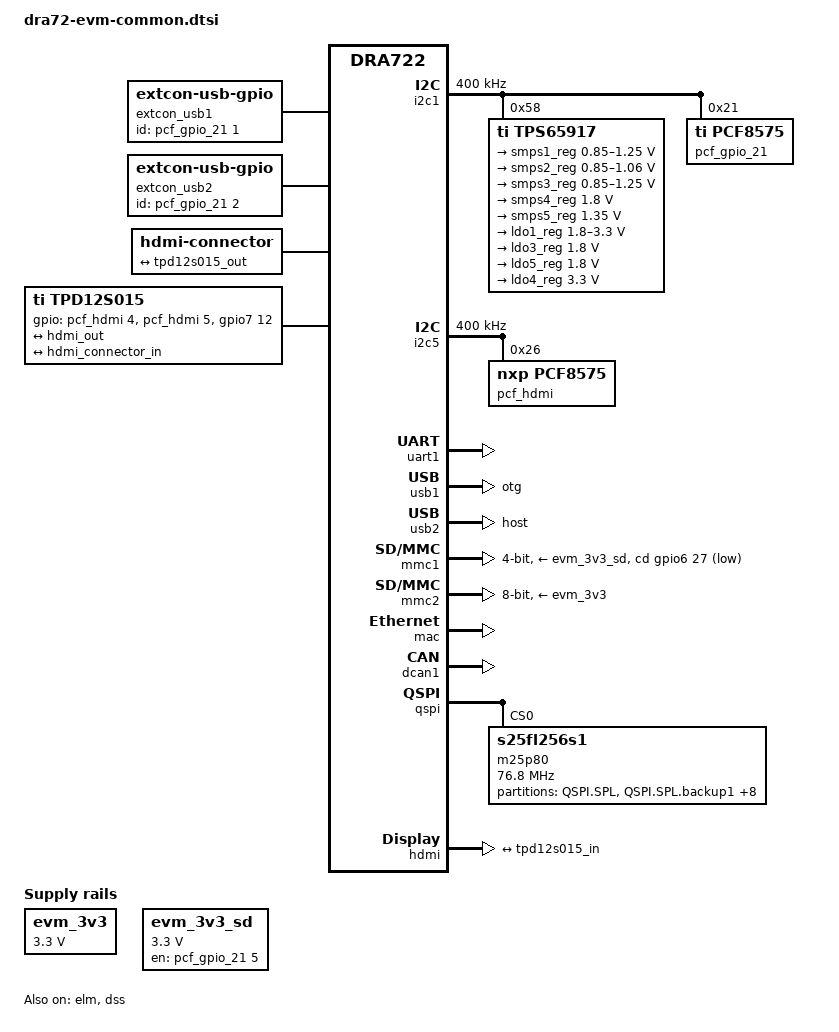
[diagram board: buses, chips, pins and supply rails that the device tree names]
/*
 * Copyright (C) 2014 Texas Instruments Incorporated - http://www.ti.com/
 *
 * This program is free software; you can redistribute it and/or modify
 * it under the terms of the GNU General Public License version 2 as
 * published by the Free Software Foundation.
 */
/dts-v1/;

#include "dra72x.dtsi"
#include <dt-bindings/gpio/gpio.h>

/ {
	compatible = "ti,dra72-evm", "ti,dra722", "ti,dra72", "ti,dra7";

	chosen {
		stdout-path = &uart1;
		tick-timer = &timer2;
	};

	aliases {
		display0 = &hdmi0;
	};

	evm_3v3: fixedregulator-evm_3v3 {
		compatible = "regulator-fixed";
		regulator-name = "evm_3v3";
		regulator-min-microvolt = <3300000>;
		regulator-max-microvolt = <3300000>;
	};

	evm_3v3_sd: fixedregulator-sd {
		compatible = "regulator-fixed";
		regulator-name = "evm_3v3_sd";
		regulator-min-microvolt = <3300000>;
		regulator-max-microvolt = <3300000>;
		enable-active-high;
		gpio = <&pcf_gpio_21 5 GPIO_ACTIVE_HIGH>;
	};

	extcon_usb1: extcon_usb1 {
		compatible = "linux,extcon-usb-gpio";
		id-gpio = <&pcf_gpio_21 1 GPIO_ACTIVE_HIGH>;
	};

	extcon_usb2: extcon_usb2 {
		compatible = "linux,extcon-usb-gpio";
		id-gpio = <&pcf_gpio_21 2 GPIO_ACTIVE_HIGH>;
	};

	hdmi0: connector {
		compatible = "hdmi-connector";
		label = "hdmi";

		type = "a";

		port {
			hdmi_connector_in: endpoint {
				remote-endpoint = <&tpd12s015_out>;
			};
		};
	};

	tpd12s015: encoder {
		compatible = "ti,tpd12s015";

		gpios = <&pcf_hdmi 4 GPIO_ACTIVE_HIGH>,	/* P4, CT CP HPD */
			<&pcf_hdmi 5 GPIO_ACTIVE_HIGH>,	/* P5, LS OE */
			<&gpio7 12 GPIO_ACTIVE_HIGH>;	/* gpio7_12/sp1_cs2, HPD */

		ports {
			#address-cells = <1>;
			#size-cells = <0>;

			port@0 {
				reg = <0>;

				tpd12s015_in: endpoint {
					remote-endpoint = <&hdmi_out>;
				};
			};

			port@1 {
				reg = <1>;

				tpd12s015_out: endpoint {
					remote-endpoint = <&hdmi_connector_in>;
				};
			};
		};
	};
};

&dra7_pmx_core {
	mmc1_pins_default: mmc1_pins_default {
		pinctrl-single,pins = <
			0x354 (PIN_INPUT_PULLUP | MUX_MODE0) /* mmc1_clk.clk */
			0x358 (PIN_INPUT_PULLUP | MUX_MODE0) /* mmc1_cmd.cmd */
			0x35c (PIN_INPUT_PULLUP | MUX_MODE0) /* mmc1_dat0.dat0 */
			0x360 (PIN_INPUT_PULLUP | MUX_MODE0) /* mmc1_dat1.dat1 */
			0x364 (PIN_INPUT_PULLUP | MUX_MODE0) /* mmc1_dat2.dat2 */
			0x368 (PIN_INPUT_PULLUP | MUX_MODE0) /* mmc1_dat3.dat3 */
		>;
	};

	mmc1_pins_sdr12: pinmux_mmc1_sdr12_pins {
		pinctrl-single,pins = <
			0x354 (PIN_INPUT_PULLUP | MUX_MODE0) /* mmc1_clk.clk */
			0x358 (PIN_INPUT_PULLUP | MUX_MODE0) /* mmc1_cmd.cmd */
			0x35c (PIN_INPUT_PULLUP | MUX_MODE0) /* mmc1_dat0.dat0 */
			0x360 (PIN_INPUT_PULLUP | MUX_MODE0) /* mmc1_dat1.dat1 */
			0x364 (PIN_INPUT_PULLUP | MUX_MODE0) /* mmc1_dat2.dat2 */
			0x368 (PIN_INPUT_PULLUP | MUX_MODE0) /* mmc1_dat3.dat3 */
		>;
	};

	mmc1_pins_hs: pinmux_mmc1_hs_pins {
		pinctrl-single,pins = <
			0x354 (PIN_INPUT_PULLUP | MUX_MODE0) /* mmc1_clk.clk */
			0x358 (PIN_INPUT_PULLUP | MUX_MODE0) /* mmc1_cmd.cmd */
			0x35c (PIN_INPUT_PULLUP | MUX_MODE0) /* mmc1_dat0.dat0 */
			0x360 (PIN_INPUT_PULLUP | MUX_MODE0) /* mmc1_dat1.dat1 */
			0x364 (PIN_INPUT_PULLUP | MUX_MODE0) /* mmc1_dat2.dat2 */
			0x368 (PIN_INPUT_PULLUP | MUX_MODE0) /* mmc1_dat3.dat3 */
		>;
	};

	mmc1_pins_sdr25: pinmux_mmc1_sdr25_pins {
		pinctrl-single,pins = <
			0x354 (PIN_INPUT_PULLUP | MUX_MODE0) /* mmc1_clk.clk */
			0x358 (PIN_INPUT_PULLUP | MUX_MODE0) /* mmc1_cmd.cmd */
			0x35c (PIN_INPUT_PULLUP | MUX_MODE0) /* mmc1_dat0.dat0 */
			0x360 (PIN_INPUT_PULLUP | MUX_MODE0) /* mmc1_dat1.dat1 */
			0x364 (PIN_INPUT_PULLUP | MUX_MODE0) /* mmc1_dat2.dat2 */
			0x368 (PIN_INPUT_PULLUP | MUX_MODE0) /* mmc1_dat3.dat3 */
		>;
	};

	mmc1_pins_sdr50: pinmux_mmc1_sdr50_pins {
		pinctrl-single,pins = <
			0x354 (PIN_INPUT_PULLUP | MUX_VIRTUAL_MODE15 | MUX_MODE0)	/* mmc1_clk.mmc1_clk */
			0x358 (PIN_INPUT_PULLUP | MUX_VIRTUAL_MODE15 | MUX_MODE0)	/* mmc1_cmd.mmc1_cmd */
			0x35C (PIN_INPUT_PULLUP | MUX_VIRTUAL_MODE15 | MUX_MODE0)	/* mmc1_dat0.mmc1_dat0 */
			0x360 (PIN_INPUT_PULLUP | MUX_VIRTUAL_MODE15 | MUX_MODE0)	/* mmc1_dat1.mmc1_dat1 */
			0x364 (PIN_INPUT_PULLUP | MUX_VIRTUAL_MODE15 | MUX_MODE0)	/* mmc1_dat2.mmc1_dat2 */
			0x368 (PIN_INPUT_PULLUP | MUX_VIRTUAL_MODE15 | MUX_MODE0)	/* mmc1_dat3.mmc1_dat3 */
		>;
	};

	mmc1_pins_ddr50: pinmux_mmc1_ddr50_pins {
		pinctrl-single,pins = <
			0x354	(PIN_INPUT_PULLUP | MUX_VIRTUAL_MODE14 | MUX_MODE0)	/* mmc1_clk.mmc1_clk */
			0x358	(PIN_INPUT_PULLUP | MUX_VIRTUAL_MODE14 | MUX_MODE0)	/* mmc1_cmd.mmc1_cmd */
			0x35C	(PIN_INPUT_PULLUP | MUX_VIRTUAL_MODE14 | MUX_MODE0)	/* mmc1_dat0.mmc1_dat0 */
			0x360	(PIN_INPUT_PULLUP | MUX_VIRTUAL_MODE14 | MUX_MODE0)	/* mmc1_dat1.mmc1_dat1 */
			0x364	(PIN_INPUT_PULLUP | MUX_VIRTUAL_MODE14 | MUX_MODE0)	/* mmc1_dat2.mmc1_dat2 */
			0x368	(PIN_INPUT_PULLUP | MUX_VIRTUAL_MODE14 | MUX_MODE0)	/* mmc1_dat3.mmc1_dat3 */
		>;
	};

	mmc1_pins_sdr104: pinmux_mmc1_sdr104_pins {
		pinctrl-single,pins = <
			0x354	(PIN_INPUT_PULLUP | MANUAL_MODE | MUX_MODE0)	/* mmc1_clk.mmc1_clk */
			0x358	(PIN_INPUT_PULLUP | MANUAL_MODE | MUX_MODE0)	/* mmc1_cmd.mmc1_cmd */
			0x35C	(PIN_INPUT_PULLUP | MANUAL_MODE | MUX_MODE0)	/* mmc1_dat0.mmc1_dat0 */
			0x360	(PIN_INPUT_PULLUP | MANUAL_MODE | MUX_MODE0)	/* mmc1_dat1.mmc1_dat1 */
			0x364	(PIN_INPUT_PULLUP | MANUAL_MODE | MUX_MODE0)	/* mmc1_dat2.mmc1_dat2 */
			0x368	(PIN_INPUT_PULLUP | MANUAL_MODE | MUX_MODE0)	/* mmc1_dat3.mmc1_dat3 */
		>;
	};

	mmc2_pins_default: mmc2_pins_default {
		pinctrl-single,pins = <
			0x9c (PIN_INPUT_PULLUP | MUX_MODE1) /* gpmc_a23.mmc2_clk */
			0xb0 (PIN_INPUT_PULLUP | MUX_MODE1) /* gpmc_cs1.mmc2_cmd */
			0xa0 (PIN_INPUT_PULLUP | MUX_MODE1) /* gpmc_a24.mmc2_dat0 */
			0xa4 (PIN_INPUT_PULLUP | MUX_MODE1) /* gpmc_a25.mmc2_dat1 */
			0xa8 (PIN_INPUT_PULLUP | MUX_MODE1) /* gpmc_a26.mmc2_dat2 */
			0xac (PIN_INPUT_PULLUP | MUX_MODE1) /* gpmc_a27.mmc2_dat3 */
			0x8c (PIN_INPUT_PULLUP | MUX_MODE1) /* gpmc_a19.mmc2_dat4 */
			0x90 (PIN_INPUT_PULLUP | MUX_MODE1) /* gpmc_a20.mmc2_dat5 */
			0x94 (PIN_INPUT_PULLUP | MUX_MODE1) /* gpmc_a21.mmc2_dat6 */
			0x98 (PIN_INPUT_PULLUP | MUX_MODE1) /* gpmc_a22.mmc2_dat7 */
		>;
	};

	mmc2_pins_hs: pinmux_mmc2_hs_pins {
		pinctrl-single,pins = <
			0x08C	(PIN_INPUT_PULLUP | MUX_MODE1)	/* gpmc_a19.mmc2_dat4 */
			0x090	(PIN_INPUT_PULLUP | MUX_MODE1)	/* gpmc_a20.mmc2_dat5 */
			0x094	(PIN_INPUT_PULLUP | MUX_MODE1)	/* gpmc_a21.mmc2_dat6 */
			0x098	(PIN_INPUT_PULLUP | MUX_MODE1)	/* gpmc_a22.mmc2_dat7 */
			0x09C	(PIN_INPUT_PULLUP | MUX_MODE1)	/* gpmc_a23.mmc2_clk */
			0x0A0	(PIN_INPUT_PULLUP | MUX_MODE1)	/* gpmc_a24.mmc2_dat0 */
			0x0A4	(PIN_INPUT_PULLUP | MUX_MODE1)	/* gpmc_a25.mmc2_dat1 */
			0x0A8	(PIN_INPUT_PULLUP | MUX_MODE1)	/* gpmc_a26.mmc2_dat2 */
			0x0AC	(PIN_INPUT_PULLUP | MUX_MODE1)	/* gpmc_a27.mmc2_dat3 */
			0x0B0	(PIN_INPUT_PULLUP | MUX_MODE1)	/* gpmc_cs1.mmc2_cmd */
		>;
	};

	mmc2_pins_ddr_1_8v: pinmux_mmc2_ddr_1_8v_pins {
		pinctrl-single,pins = <
			0x08C	(PIN_INPUT_PULLUP | MUX_MODE1)	/* gpmc_a19.mmc2_dat4 */
			0x090	(PIN_INPUT_PULLUP | MUX_MODE1)	/* gpmc_a20.mmc2_dat5 */
			0x094	(PIN_INPUT_PULLUP | MUX_MODE1)	/* gpmc_a21.mmc2_dat6 */
			0x098	(PIN_INPUT_PULLUP | MUX_MODE1)	/* gpmc_a22.mmc2_dat7 */
			0x09C	(PIN_INPUT_PULLUP | MUX_MODE1)	/* gpmc_a23.mmc2_clk */
			0x0A0	(PIN_INPUT_PULLUP | MUX_MODE1)	/* gpmc_a24.mmc2_dat0 */
			0x0A4	(PIN_INPUT_PULLUP | MUX_MODE1)	/* gpmc_a25.mmc2_dat1 */
			0x0A8	(PIN_INPUT_PULLUP | MUX_MODE1)	/* gpmc_a26.mmc2_dat2 */
			0x0AC	(PIN_INPUT_PULLUP | MUX_MODE1)	/* gpmc_a27.mmc2_dat3 */
			0x0B0	(PIN_INPUT_PULLUP | MUX_MODE1)	/* gpmc_cs1.mmc2_cmd */
		>;
	};

	mmc2_pins_hs200_1_8v: pinmux_mmc2_hs200_1_8v_pins {
		pinctrl-single,pins = <
			0x08C	(PIN_INPUT_PULLUP | MANUAL_MODE | MUX_MODE1)	/* gpmc_a19.mmc2_dat4 */
			0x090	(PIN_INPUT_PULLUP | MANUAL_MODE | MUX_MODE1)	/* gpmc_a20.mmc2_dat5 */
			0x094	(PIN_INPUT_PULLUP | MANUAL_MODE | MUX_MODE1)	/* gpmc_a21.mmc2_dat6 */
			0x098	(PIN_INPUT_PULLUP | MANUAL_MODE | MUX_MODE1)	/* gpmc_a22.mmc2_dat7 */
			0x09C	(PIN_INPUT_PULLUP | MANUAL_MODE | MUX_MODE1)	/* gpmc_a23.mmc2_clk */
			0x0A0	(PIN_INPUT_PULLUP | MANUAL_MODE | MUX_MODE1)	/* gpmc_a24.mmc2_dat0 */
			0x0A4	(PIN_INPUT_PULLUP | MANUAL_MODE | MUX_MODE1)	/* gpmc_a25.mmc2_dat1 */
			0x0A8	(PIN_INPUT_PULLUP | MANUAL_MODE | MUX_MODE1)	/* gpmc_a26.mmc2_dat2 */
			0x0AC	(PIN_INPUT_PULLUP | MANUAL_MODE | MUX_MODE1)	/* gpmc_a27.mmc2_dat3 */
			0x0B0	(PIN_INPUT_PULLUP | MANUAL_MODE | MUX_MODE1)	/* gpmc_cs1.mmc2_cmd */
		>;
	};

	dcan1_pins_default: dcan1_pins_default {
		pinctrl-single,pins = <
			0x3d0   (PIN_OUTPUT_PULLUP | MUX_MODE0) /* dcan1_tx */
			0x418   (PULL_UP | MUX_MODE1)	/* wakeup0.dcan1_rx */
		>;
	};

	dcan1_pins_sleep: dcan1_pins_sleep {
		pinctrl-single,pins = <
			0x3d0   (MUX_MODE15 | PULL_UP)	/* dcan1_tx.off */
			0x418   (MUX_MODE15 | PULL_UP)	/* wakeup0.off */
		>;
	};
};

&dra7_iodelay_core {
	mmc1_iodelay_sdr104_conf: mmc1_iodelay_sdr104_conf {
		pinctrl-single,pins = <
			0x620 (A_DELAY(560) | G_DELAY(365))	/* CFG_MMC1_CLK_OUT */
			0x62C (A_DELAY(0)   | G_DELAY(0))	/* CFG_MMC1_CMD_OUT */
			0x638 (A_DELAY(29)  | G_DELAY(0))	/* CFG_MMC1_DAT0_OUT */
			0x644 (A_DELAY(0)   | G_DELAY(0))	/* CFG_MMC1_DAT1_OUT */
			0x650 (A_DELAY(47)  | G_DELAY(0))	/* CFG_MMC1_DAT2_OUT */
			0x65C (A_DELAY(30)  | G_DELAY(0))	/* CFG_MMC1_DAT3_OUT */
			0x628 (A_DELAY(125) | G_DELAY(0))	/* CFG_MMC1_CMD_OEN */
			0x634 (A_DELAY(43)  | G_DELAY(0))	/* CFG_MMC1_DAT0_OEN */
			0x640 (A_DELAY(433) | G_DELAY(0))	/* CFG_MMC1_DAT1_OEN */
			0x64C (A_DELAY(287) | G_DELAY(0))	/* CFG_MMC1_DAT2_OEN */
			0x658 (A_DELAY(351) | G_DELAY(0))	/* CFG_MMC1_DAT3_OEN */
		>;
	};

	mmc2_iodelay_hs200_1_8v_conf: mmc2_iodelay_hs200_1_8v_conf {
		pinctrl-single,pins = <
			0x194 (A_DELAY(150) | G_DELAY(95))	/* CFG_GPMC_A19_OUT */
			0x1AC (A_DELAY(250) | G_DELAY(0))	/* CFG_GPMC_A20_OUT */
			0x1B8 (A_DELAY(125) | G_DELAY(0))	/* CFG_GPMC_A21_OUT */
			0x1C4 (A_DELAY(100) | G_DELAY(0))	/* CFG_GPMC_A22_OUT */
			0x1D0 (A_DELAY(870) | G_DELAY(415))	/* CFG_GPMC_A23_OUT */
			0x1DC (A_DELAY(30)  | G_DELAY(0))	/* CFG_GPMC_A24_OUT */
			0x1E8 (A_DELAY(200) | G_DELAY(0))	/* CFG_GPMC_A25_OUT */
			0x1F4 (A_DELAY(200) | G_DELAY(0))	/* CFG_GPMC_A26_OUT */
			0x200 (A_DELAY(0)   | G_DELAY(0))	/* CFG_GPMC_A27_OUT */
			0x368 (A_DELAY(240) | G_DELAY(0))	/* CFG_GPMC_CS1_OUT */
			0x190 (A_DELAY(695) | G_DELAY(0))	/* CFG_GPMC_A19_OEN */
			0x1A8 (A_DELAY(924) | G_DELAY(0))	/* CFG_GPMC_A20_OEN */
			0x1B4 (A_DELAY(719) | G_DELAY(0))	/* CFG_GPMC_A21_OEN */
			0x1C0 (A_DELAY(824) | G_DELAY(0))	/* CFG_GPMC_A22_OEN */
			0x1D8 (A_DELAY(877) | G_DELAY(0))	/* CFG_GPMC_A24_OEN */
			0x1E4 (A_DELAY(446) | G_DELAY(0))	/* CFG_GPMC_A25_OEN */
			0x1F0 (A_DELAY(847) | G_DELAY(0))	/* CFG_GPMC_A26_OEN */
			0x1FC (A_DELAY(586) | G_DELAY(0))	/* CFG_GPMC_A27_OEN */
			0x364 (A_DELAY(1039) | G_DELAY(0))	/* CFG_GPMC_CS1_OEN */
		>;
	};
};

&i2c1 {
	status = "okay";
	clock-frequency = <400000>;

	tps65917: tps65917@58 {
		compatible = "ti,tps65917";
		reg = <0x58>;

		interrupts = <GIC_SPI 2 IRQ_TYPE_NONE>;  /* IRQ_SYS_1N */
		interrupt-controller;
		#interrupt-cells = <2>;

		ti,system-power-controller;

		tps65917_pmic {
			compatible = "ti,tps65917-pmic";

			tps65917_regulators: regulators {
				smps1_reg: smps1 {
					/* VDD_MPU */
					regulator-name = "smps1";
					regulator-min-microvolt = <850000>;
					regulator-max-microvolt = <1250000>;
					regulator-always-on;
					regulator-boot-on;
				};

				smps2_reg: smps2 {
					/* VDD_CORE */
					regulator-name = "smps2";
					regulator-min-microvolt = <850000>;
					regulator-max-microvolt = <1060000>;
					regulator-boot-on;
					regulator-always-on;
				};

				smps3_reg: smps3 {
					/* VDD_GPU IVA DSPEVE */
					regulator-name = "smps3";
					regulator-min-microvolt = <850000>;
					regulator-max-microvolt = <1250000>;
					regulator-boot-on;
					regulator-always-on;
				};

				smps4_reg: smps4 {
					/* VDDS1V8 */
					regulator-name = "smps4";
					regulator-min-microvolt = <1800000>;
					regulator-max-microvolt = <1800000>;
					regulator-always-on;
					regulator-boot-on;
				};

				smps5_reg: smps5 {
					/* VDD_DDR */
					regulator-name = "smps5";
					regulator-min-microvolt = <1350000>;
					regulator-max-microvolt = <1350000>;
					regulator-boot-on;
					regulator-always-on;
				};

				ldo1_reg: ldo1 {
					/* LDO1_OUT --> SDIO  */
					regulator-name = "ldo1";
					regulator-min-microvolt = <1800000>;
					regulator-max-microvolt = <3300000>;
					regulator-always-on;
					regulator-boot-on;
					regulator-allow-bypass;
				};

				ldo3_reg: ldo3 {
					/* VDDA_1V8_PHY */
					regulator-name = "ldo3";
					regulator-min-microvolt = <1800000>;
					regulator-max-microvolt = <1800000>;
					regulator-boot-on;
					regulator-always-on;
				};

				ldo5_reg: ldo5 {
					/* VDDA_1V8_PLL */
					regulator-name = "ldo5";
					regulator-min-microvolt = <1800000>;
					regulator-max-microvolt = <1800000>;
					regulator-always-on;
					regulator-boot-on;
				};

				ldo4_reg: ldo4 {
					/* VDDA_3V_USB: VDDA_USBHS33 */
					regulator-name = "ldo4";
					regulator-min-microvolt = <3300000>;
					regulator-max-microvolt = <3300000>;
					regulator-boot-on;
				};
			};
		};

		tps65917_power_button {
			compatible = "ti,palmas-pwrbutton";
			interrupt-parent = <&tps65917>;
			interrupts = <1 IRQ_TYPE_NONE>;
			wakeup-source;
			ti,palmas-long-press-seconds = <6>;
		};
	};

	pcf_gpio_21: gpio@21 {
		compatible = "ti,pcf8575";
		reg = <0x21>;
		lines-initial-states = <0x1408>;
		gpio-controller;
		#gpio-cells = <2>;

		interrupt-controller;
		#interrupt-cells = <2>;
	};
};

&i2c5 {
	status = "okay";
	clock-frequency = <400000>;

	pcf_hdmi: pcf8575@26 {
		compatible = "nxp,pcf8575";
		reg = <0x26>;
		gpio-controller;
		#gpio-cells = <2>;
		/*
		 * initial state is used here to keep the mdio interface
		 * selected on RU89 through SEL_VIN4_MUX_S0, VIN2_S1 and
		 * VIN2_S0 driven high otherwise Ethernet stops working
		 * VIN6_SEL_S0 is low, thus selecting McASP3 over VIN6
		 */
		lines-initial-states = <0x0f2b>;

		p1 {
			/* vin6_sel_s0: high: VIN6, low: audio */
			gpio-hog;
			gpios = <1 GPIO_ACTIVE_HIGH>;
			output-low;
			line-name = "vin6_sel_s0";
		};
	};
};

&uart1 {
	status = "okay";
	interrupts-extended = <&crossbar_mpu GIC_SPI 67 IRQ_TYPE_LEVEL_HIGH>,
			      <&dra7_pmx_core 0x3e0>;
};

&elm {
	status = "okay";
};

&gpmc {
	/*
	 * For the existing IOdelay configuration via U-Boot we don't
	 * support NAND on dra72-evm. Keep it disabled. Enabling it
	 * requires a different configuration by U-Boot.
	 */
	status = "disabled";
	ranges = <0 0 0x08000000 0x01000000>;	/* minimum GPMC partition = 16MB */
	nand@0,0 {
		/* To use NAND, DIP switch SW5 must be set like so:
		 * SW5.1 (NAND_SELn) = ON (LOW)
		 * SW5.9 (GPMC_WPN) = OFF (HIGH)
		 */
		compatible = "ti,omap2-nand";
		reg = <0 0 4>;          /* device IO registers */
		interrupt-parent = <&gpmc>;
		interrupts = <0 IRQ_TYPE_NONE>, /* fifoevent */
			     <1 IRQ_TYPE_NONE>; /* termcount */
		rb-gpios = <&gpmc 0 GPIO_ACTIVE_HIGH>; /* gpmc_wait0 pin */	/* device IO registers */
		ti,nand-ecc-opt = "bch8";
		ti,elm-id = <&elm>;
		nand-bus-width = <16>;
		gpmc,device-width = <2>;
		gpmc,sync-clk-ps = <0>;
		gpmc,cs-on-ns = <0>;
		gpmc,cs-rd-off-ns = <80>;
		gpmc,cs-wr-off-ns = <80>;
		gpmc,adv-on-ns = <0>;
		gpmc,adv-rd-off-ns = <60>;
		gpmc,adv-wr-off-ns = <60>;
		gpmc,we-on-ns = <10>;
		gpmc,we-off-ns = <50>;
		gpmc,oe-on-ns = <4>;
		gpmc,oe-off-ns = <40>;
		gpmc,access-ns = <40>;
		gpmc,wr-access-ns = <80>;
		gpmc,rd-cycle-ns = <80>;
		gpmc,wr-cycle-ns = <80>;
		gpmc,bus-turnaround-ns = <0>;
		gpmc,cycle2cycle-delay-ns = <0>;
		gpmc,clk-activation-ns = <0>;
		gpmc,wait-monitoring-ns = <0>;
		gpmc,wr-data-mux-bus-ns = <0>;
		/* MTD partition table */
		/* All SPL-* partitions are sized to minimal length
		 * which can be independently programmable. For
		 * NAND flash this is equal to size of erase-block */
		#address-cells = <1>;
		#size-cells = <1>;
		partition@0 {
			label = "NAND.SPL";
			reg = <0x00000000 0x000020000>;
		};
		partition@1 {
			label = "NAND.SPL.backup1";
			reg = <0x00020000 0x00020000>;
		};
		partition@2 {
			label = "NAND.SPL.backup2";
			reg = <0x00040000 0x00020000>;
		};
		partition@3 {
			label = "NAND.SPL.backup3";
			reg = <0x00060000 0x00020000>;
		};
		partition@4 {
			label = "NAND.u-boot-spl-os";
			reg = <0x00080000 0x00040000>;
		};
		partition@5 {
			label = "NAND.u-boot";
			reg = <0x000c0000 0x00100000>;
		};
		partition@6 {
			label = "NAND.u-boot-env";
			reg = <0x001c0000 0x00020000>;
		};
		partition@7 {
			label = "NAND.u-boot-env.backup1";
			reg = <0x001e0000 0x00020000>;
		};
		partition@8 {
			label = "NAND.kernel";
			reg = <0x00200000 0x00800000>;
		};
		partition@9 {
			label = "NAND.file-system";
			reg = <0x00a00000 0x0f600000>;
		};
	};
};

&usb2_phy1 {
	phy-supply = <&ldo4_reg>;
};

&usb2_phy2 {
	phy-supply = <&ldo4_reg>;
};

&omap_dwc3_1 {
	extcon = <&extcon_usb1>;
};

&omap_dwc3_2 {
	extcon = <&extcon_usb2>;
};

&usb1 {
	dr_mode = "otg";
};

&usb2 {
	dr_mode = "host";
};

&mmc1 {
	status = "okay";
	pinctrl-names = "default";
	pinctrl-0 = <&mmc1_pins_default>;
	vmmc-supply = <&evm_3v3_sd>;
	vmmc_aux-supply = <&ldo1_reg>;
	bus-width = <4>;
	/*
	 * SDCD signal is not being used here - using the fact that GPIO mode
	 * is a viable alternative
	 */
	cd-gpios = <&gpio6 27 GPIO_ACTIVE_LOW>;
	max-frequency = <192000000>;
	pinctrl-names = "default", "hs", "sdr12", "sdr25", "sdr50", "ddr50", "sdr104";
	pinctrl-0 = <&mmc1_pins_default>;
	pinctrl-1 = <&mmc1_pins_hs>;
	pinctrl-2 = <&mmc1_pins_sdr12>;
	pinctrl-3 = <&mmc1_pins_sdr25>;
	pinctrl-4 = <&mmc1_pins_sdr50>;
	pinctrl-5 = <&mmc1_pins_ddr50>;
	pinctrl-6 = <&mmc1_pins_sdr104 &mmc1_iodelay_sdr104_conf>;
};

&mmc2 {
	/* SW5-3 in ON position */
	status = "okay";
	pinctrl-names = "default", "hs", "ddr_1_8v", "hs200_1_8v";
	pinctrl-0 = <&mmc2_pins_default>;
	pinctrl-1 = <&mmc2_pins_hs>;
	pinctrl-2 = <&mmc2_pins_ddr_1_8v>;
	pinctrl-3 = <&mmc2_pins_hs200_1_8v &mmc2_iodelay_hs200_1_8v_conf>;

	vmmc-supply = <&evm_3v3>;
	bus-width = <8>;
	ti,non-removable;
	max-frequency = <192000000>;
};

&mac {
	status = "okay";
};

&dcan1 {
	status = "ok";
};

&qspi {
	status = "okay";

	spi-max-frequency = <64000000>;
	m25p80@0 {
		compatible = "s25fl256s1", "spi-flash";
		spi-max-frequency = <76800000>;
		reg = <0>;
		spi-tx-bus-width = <1>;
		spi-rx-bus-width = <4>;
		#address-cells = <1>;
		#size-cells = <1>;

		/* MTD partition table.
		 * The ROM checks the first four physical blocks
		 * for a valid file to boot and the flash here is
		 * 64KiB block size.
		 */
		partition@0 {
			label = "QSPI.SPL";
			reg = <0x00000000 0x000010000>;
		};
		partition@1 {
			label = "QSPI.SPL.backup1";
			reg = <0x00010000 0x00010000>;
		};
		partition@2 {
			label = "QSPI.SPL.backup2";
			reg = <0x00020000 0x00010000>;
		};
		partition@3 {
			label = "QSPI.SPL.backup3";
			reg = <0x00030000 0x00010000>;
		};
		partition@4 {
			label = "QSPI.u-boot";
			reg = <0x00040000 0x00100000>;
		};
		partition@5 {
			label = "QSPI.u-boot-spl-os";
			reg = <0x00140000 0x00080000>;
		};
		partition@6 {
			label = "QSPI.u-boot-env";
			reg = <0x001c0000 0x00010000>;
		};
		partition@7 {
			label = "QSPI.u-boot-env.backup1";
			reg = <0x001d0000 0x0010000>;
		};
		partition@8 {
			label = "QSPI.kernel";
			reg = <0x001e0000 0x0800000>;
		};
		partition@9 {
			label = "QSPI.file-system";
			reg = <0x009e0000 0x01620000>;
		};
	};
};

&dss {
	status = "ok";

	vdda_video-supply = <&ldo5_reg>;
};

&hdmi {
	status = "ok";

	port {
		hdmi_out: endpoint {
			remote-endpoint = <&tpd12s015_in>;
		};
	};
};
